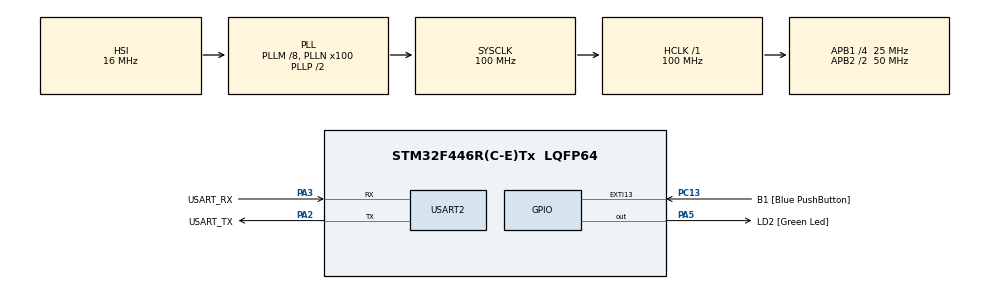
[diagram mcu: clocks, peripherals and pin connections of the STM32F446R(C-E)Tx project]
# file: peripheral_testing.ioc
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Dma.Request0=USART2_TX
Dma.USART2_TX.0.Direction=DMA_MEMORY_TO_PERIPH
Dma.USART2_TX.0.FIFOMode=DMA_FIFOMODE_ENABLE
Dma.USART2_TX.0.FIFOThreshold=DMA_FIFO_THRESHOLD_FULL
Dma.USART2_TX.0.Instance=DMA1_Stream6
Dma.USART2_TX.0.MemBurst=DMA_MBURST_SINGLE
Dma.USART2_TX.0.MemDataAlignment=DMA_MDATAALIGN_BYTE
Dma.USART2_TX.0.MemInc=DMA_MINC_ENABLE
Dma.USART2_TX.0.Mode=DMA_NORMAL
Dma.USART2_TX.0.PeriphBurst=DMA_PBURST_SINGLE
Dma.USART2_TX.0.PeriphDataAlignment=DMA_PDATAALIGN_BYTE
Dma.USART2_TX.0.PeriphInc=DMA_PINC_DISABLE
Dma.USART2_TX.0.Priority=DMA_PRIORITY_LOW
Mcu.Family=STM32F4
Mcu.Name=STM32F446R(C-E)Tx
Mcu.Package=LQFP64
NVIC.DMA1_Stream6_IRQn=true\:0\:0\:false\:false\:true\:false\:true
NVIC.EXTI15_10_IRQn=true\:0\:0\:false\:false\:true\:true\:true
NVIC.PriorityGroup=NVIC_PRIORITYGROUP_0
NVIC.USART2_IRQn=true\:0\:0\:false\:false\:true\:true\:true
PA13.GPIO_Label=TMS
PA13.Mode=Serial_Wire
PA13.Signal=SYS_JTMS-SWDIO
PA14.GPIO_Label=TCK
PA14.Mode=Serial_Wire
PA14.Signal=SYS_JTCK-SWCLK
PA2.GPIO_Label=USART_TX
PA2.Mode=Asynchronous
PA2.Signal=USART2_TX
PA3.GPIO_Label=USART_RX
PA3.Mode=Asynchronous
PA3.Signal=USART2_RX
PA5.GPIO_Label=LD2 [Green Led]
PA5.Signal=GPIO_Output
PB3.GPIO_Label=SWO
PB3.Signal=SYS_JTDO-SWO
PC13.GPIO_Label=B1 [Blue PushButton]
PC13.GPIO_ModeDefaultEXTI=GPIO_MODE_IT_FALLING
PC13.Signal=GPXTI13
PC14-OSC32_IN.Mode=LSE-External-Oscillator
PC14-OSC32_IN.Signal=RCC_OSC32_IN
PC15-OSC32_OUT.Mode=LSE-External-Oscillator
PC15-OSC32_OUT.Signal=RCC_OSC32_OUT
PH0-OSC_IN.Mode=HSE-External-Oscillator
PH0-OSC_IN.Signal=RCC_OSC_IN
PH1-OSC_OUT.Mode=HSE-External-Oscillator
PH1-OSC_OUT.Signal=RCC_OSC_OUT
ProjectManager.HeapSize=0x200
ProjectManager.StackSize=0x400
ProjectManager.TargetToolchain=STM32CubeIDE
RCC.48MHZClocksFreq_Value=84000000
RCC.AHBFreq_Value=100000000
RCC.APB1CLKDivider=RCC_HCLK_DIV4
RCC.APB1Freq_Value=25000000
RCC.APB1TimFreq_Value=50000000
RCC.APB2CLKDivider=RCC_HCLK_DIV2
RCC.APB2Freq_Value=50000000
RCC.APB2TimFreq_Value=100000000
RCC.CortexFreq_Value=100000000
RCC.FLatency-AdvancedSettings=FLASH_LATENCY_3
RCC.HCLKFreq_Value=100000000
RCC.HSE_VALUE=8000000
RCC.HSI_VALUE=16000000
RCC.PLLM=8
RCC.PLLN=100
RCC.SYSCLKFreq_VALUE=100000000
RCC.SYSCLKSource=RCC_SYSCLKSOURCE_PLLCLK
RCC.USBFreq_Value=100000000
RCC.VCOOutputFreq_Value=200000000
USART2.VirtualMode=VM_ASYNC
board=NUCLEO-F446RE

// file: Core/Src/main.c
/* USER CODE BEGIN Header */
/**
  ******************************************************************************
  * @file           : main.c
  * @brief          : Main program body
  ******************************************************************************
  * @attention
  *
  * <h2><center>&copy; Copyright (c) 2021 STMicroelectronics.
  * All rights reserved.</center></h2>
  *
  * This software component is licensed by ST under BSD 3-Clause license,
  * the "License"; You may not use this file except in compliance with the
  * License. You may obtain a copy of the License at:
  *                        opensource.org/licenses/BSD-3-Clause
  *
  ******************************************************************************
  */
/* USER CODE END Header */
#include "main.h"

/* USER CODE BEGIN Includes */
#include "ANSI_Escape_Sequences.h"

/* USER CODE END Includes */

UART_HandleTypeDef huart2;
DMA_HandleTypeDef hdma_usart2_tx;

/* USER CODE BEGIN PV */
uint8_t receive_buf;
uint8_t buf[] = "hygygyoi\n\r";

uint8_t menu[] =
{
	"\033[?25l"
		/*
		ANSI_MOVE_CURSOR_TO_PO"Hello\n"
		"Hello - 2 \n"
		ANSI_MOVE_CURSOR_TO_POS(10,10)"Hello\n"
		"Hello -4"
*/
  		ANSI_CLR_SCR
		 ANSI_MOVE_CURSOR_TO_POS_LINE(20)ANSI_ESC"1m"ANSI_ESC "97m    ▄▄▄"ANSI_ESC"0m"
		 ANSI_MOVE_CURSOR_TO_POS_LINE(21)ANSI_ESC"11m"ANSI_ESC"97m ▄█████▄▄ "ANSI_ESC"0m"
		 ANSI_MOVE_CURSOR_TO_POS_LINE(22)ANSI_ESC"11m"ANSI_ESC"97m███"ANSI_ESC"46m▀▀▀▀"ANSI_ESC"40m▀"ANSI_ESC"46m▀"ANSI_ESC"40m▀"ANSI_ESC"46m▀"ANSI_ESC"0m"
		 ANSI_MOVE_CURSOR_TO_POS_LINE(23)ANSI_ESC"11m"ANSI_ESC"97m███"ANSI_ESC"46m▄   "ANSI_ESC"22m"ANSI_ESC"30m▀ ▀"ANSI_ESC"0m"ANSI_ESC"36m▀"ANSI_ESC"0m"
		 ANSI_MOVE_CURSOR_TO_POS_LINE(24)ANSI_ESC"11m"ANSI_ESC"97m ▄"ANSI_ESC"46m  "ANSI_ESC"0m"ANSI_ESC"1m"ANSI_ESC"97m█████▄ "ANSI_ESC"22m"ANSI_ESC"31m█▄"ANSI_ESC"0m"
		 ANSI_MOVE_CURSOR_TO_POS_LINE(25)ANSI_ESC"122m"ANSI_ESC"31m▀▀"ANSI_ESC"0m"ANSI_ESC"1m"ANSI_ESC"41m"ANSI_ESC"97m▄"ANSI_ESC"46m▄   "ANSI_ESC"41m▄▄▄"ANSI_ESC"0m"ANSI_ESC"22m"ANSI_ESC"31m▀██▀"ANSI_ESC"0m"
		 ANSI_MOVE_CURSOR_TO_POS_LINE(26)ANSI_ESC"11m"ANSI_ESC"97m ██▀▀▀██▀  "ANSI_ESC"22m"ANSI_ESC"31m▀"ANSI_ESC"0m"
		 ANSI_MOVE_CURSOR_TO_POS_LINE(27)ANSI_ESC"11m"ANSI_ESC"97m ▀▀▀▀ ▀▀▀▀"ANSI_ESC"0m"
};

uint8_t leg_1[] = {
		ANSI_MOVE_CURSOR_TO_POS_LINE(26) ANSI_ESC"11m"ANSI_ESC"97m ██▀▀▀██▀  "ANSI_ESC"22m"ANSI_ESC"31m▀"ANSI_ESC"0m"
		ANSI_MOVE_CURSOR_TO_POS_LINE(27) ANSI_ESC"11m"ANSI_ESC"97m ▀▀▀▀ ▀▀▀▀"ANSI_ESC"0m"
};
/* USER CODE END PV */

void SystemClock_Config(void);
static void MX_GPIO_Init(void);
static void MX_USART2_UART_Init(void);
static void MX_DMA_Init(void);

int main(void)
{

  /* MCU Configuration--------------------------------------------------------*/

  /* Reset of all peripherals, Initializes the Flash interface and the Systick. */
  HAL_Init();

  /* Configure the system clock */
  SystemClock_Config();

  /* Initialize all configured peripherals */
  MX_GPIO_Init();
  MX_DMA_Init();
  MX_USART2_UART_Init();

  /* Infinite loop */
  /* USER CODE BEGIN WHILE */
  HAL_UART_Receive_IT(&huart2, &receive_buf, 1);
  HAL_UART_Transmit_DMA(&huart2, (uint8_t *)"hello", 5);
  while (1)
  {
    /* USER CODE END WHILE */

  }
}

void SystemClock_Config(void)
{
  RCC_OscInitTypeDef RCC_OscInitStruct = {0};
  RCC_ClkInitTypeDef RCC_ClkInitStruct = {0};

  /** Configure the main internal regulator output voltage
  */
  __HAL_RCC_PWR_CLK_ENABLE();
  __HAL_PWR_VOLTAGESCALING_CONFIG(PWR_REGULATOR_VOLTAGE_SCALE3);
  /** Initializes the RCC Oscillators according to the specified parameters
  * in the RCC_OscInitTypeDef structure.
  */
  RCC_OscInitStruct.OscillatorType = RCC_OSCILLATORTYPE_HSI;
  RCC_OscInitStruct.HSIState = RCC_HSI_ON;
  RCC_OscInitStruct.HSICalibrationValue = RCC_HSICALIBRATION_DEFAULT;
  RCC_OscInitStruct.PLL.PLLState = RCC_PLL_ON;
  RCC_OscInitStruct.PLL.PLLSource = RCC_PLLSOURCE_HSI;
  RCC_OscInitStruct.PLL.PLLM = 8;
  RCC_OscInitStruct.PLL.PLLN = 100;
  RCC_OscInitStruct.PLL.PLLP = RCC_PLLP_DIV2;
  RCC_OscInitStruct.PLL.PLLQ = 2;
  RCC_OscInitStruct.PLL.PLLR = 2;
  if (HAL_RCC_OscConfig(&RCC_OscInitStruct) != HAL_OK)
  {
    Error_Handler();
  }
  /** Initializes the CPU, AHB and APB buses clocks
  */
  RCC_ClkInitStruct.ClockType = RCC_CLOCKTYPE_HCLK|RCC_CLOCKTYPE_SYSCLK
                              |RCC_CLOCKTYPE_PCLK1|RCC_CLOCKTYPE_PCLK2;
  RCC_ClkInitStruct.SYSCLKSource = RCC_SYSCLKSOURCE_PLLCLK;
  RCC_ClkInitStruct.AHBCLKDivider = RCC_SYSCLK_DIV1;
  RCC_ClkInitStruct.APB1CLKDivider = RCC_HCLK_DIV4;
  RCC_ClkInitStruct.APB2CLKDivider = RCC_HCLK_DIV2;

  if (HAL_RCC_ClockConfig(&RCC_ClkInitStruct, FLASH_LATENCY_3) != HAL_OK)
  {
    Error_Handler();
  }
}

static void MX_USART2_UART_Init(void)
{

  huart2.Instance = USART2;
  huart2.Init.BaudRate = 115200;
  huart2.Init.WordLength = UART_WORDLENGTH_8B;
  huart2.Init.StopBits = UART_STOPBITS_1;
  huart2.Init.Parity = UART_PARITY_NONE;
  huart2.Init.Mode = UART_MODE_TX_RX;
  huart2.Init.HwFlowCtl = UART_HWCONTROL_NONE;
  huart2.Init.OverSampling = UART_OVERSAMPLING_16;
  if (HAL_UART_Init(&huart2) != HAL_OK)
  {
    Error_Handler();
  }

}

static void MX_DMA_Init(void)
{

  /* DMA controller clock enable */
  __HAL_RCC_DMA1_CLK_ENABLE();

  /* DMA interrupt init */
  /* DMA1_Stream6_IRQn interrupt configuration */
  HAL_NVIC_SetPriority(DMA1_Stream6_IRQn, 0, 0);
  HAL_NVIC_EnableIRQ(DMA1_Stream6_IRQn);

}

static void MX_GPIO_Init(void)
{
  GPIO_InitTypeDef GPIO_InitStruct = {0};

  /* GPIO Ports Clock Enable */
  __HAL_RCC_GPIOC_CLK_ENABLE();
  __HAL_RCC_GPIOH_CLK_ENABLE();
  __HAL_RCC_GPIOA_CLK_ENABLE();
  __HAL_RCC_GPIOB_CLK_ENABLE();

  /*Configure GPIO pin Output Level */
  HAL_GPIO_WritePin(LD2_GPIO_Port, LD2_Pin, GPIO_PIN_RESET);

  /*Configure GPIO pin : B1_Pin */
  GPIO_InitStruct.Pin = B1_Pin;
  GPIO_InitStruct.Mode = GPIO_MODE_IT_FALLING;
  GPIO_InitStruct.Pull = GPIO_NOPULL;
  HAL_GPIO_Init(B1_GPIO_Port, &GPIO_InitStruct);

  /*Configure GPIO pin : LD2_Pin */
  GPIO_InitStruct.Pin = LD2_Pin;
  GPIO_InitStruct.Mode = GPIO_MODE_OUTPUT_PP;
  GPIO_InitStruct.Pull = GPIO_NOPULL;
  GPIO_InitStruct.Speed = GPIO_SPEED_FREQ_LOW;
  HAL_GPIO_Init(LD2_GPIO_Port, &GPIO_InitStruct);

  /* EXTI interrupt init*/
  HAL_NVIC_SetPriority(EXTI15_10_IRQn, 0, 0);
  HAL_NVIC_EnableIRQ(EXTI15_10_IRQn);

}

/* USER CODE BEGIN 4 */
void printmsg(const char *format,...)
{
       char str[1024];

        /*extract the arg list using va apis */
       va_list args;
       va_start(args, format);
       vsprintf(str, format, args);

      // strcat(str,"\n\r");
       HAL_UART_Transmit_DMA(&huart2, (uint8_t *)str, strlen(str));
       //HAL_UART_Transmit(&huart2, (uint8_t *)str, strlen(str),HAL_MAX_DELAY);
       va_end(args);
}

void  HAL_UART_RxCpltCallback(UART_HandleTypeDef *huart){
	static int i=0;
	  HAL_UART_Receive_IT(&huart2, &receive_buf, 1);
	if(receive_buf == 'l'){
		if(i == 256) i=0;
		//printmsg(menu,i);// i, i, i, i, i, i, i , i);
		i++;
		printmsg((const char *)menu, i,i,i,i,i,i,i,i);
//		printmsg((const char *)leg_1,i,i);
		//(i%2 == 0)? printmsg((const char *)leg_1,i,i):printmsg((const char *)leg_2,i,i);
	}else if(receive_buf == 'h'){
		if(i == 0) i=1;
		//printmsg(menu,i);// i, i, i, i, i, i, i , i);
		i--;
		printmsg((const char *)menu, i,i,i,i,i,i,i,i);
//		printmsg((const char *)leg_1,i,i);
		//(i%2 == 0)? printmsg((const char *)leg_1,i,i):printmsg((const char *)leg_2,i,i);
	}
	else if(receive_buf == 'c')
		HAL_UART_Transmit(huart, (uint8_t *)"\033[2J", 4, HAL_MAX_DELAY);
	memset(&receive_buf, 0 , sizeof(receive_buf));
	//if(receive_buf == '\r')
		//receive_buf = 'h';

}

void HAL_UART_ErrorCallback(UART_HandleTypeDef *huart){
	  HAL_UART_Receive_IT(&huart2, &receive_buf, 1);
	HAL_UART_Transmit(huart, (uint8_t *)"ERR\n", 4, HAL_MAX_DELAY);
	memset(&receive_buf, 0 , sizeof(receive_buf));
}

void HAL_UART_TxCpltCallback(UART_HandleTypeDef *huart){

}

/* USER CODE END 4 */

void Error_Handler(void)
{
  __disable_irq();
  while (1)
  {
  }
}
